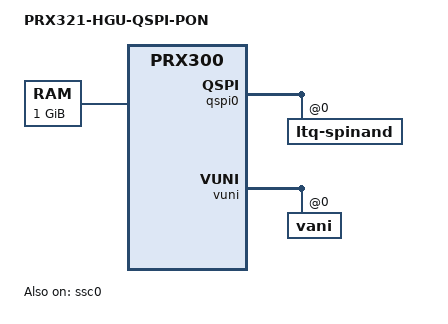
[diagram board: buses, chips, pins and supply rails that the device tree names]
/dts-v1/;
#include <dt-bindings/net/mxl,vuni.h>
#include "prx321-sfu.dtsi"
#include "prx300-pon.dtsi"

/ {
	model = "PRX321-HGU-QSPI-PON";
	compatible = "intel,prx321-hgu-qspi-pon", "intel,prx321-sfu-qspi-pon", "intel,prx321-sfu", "intel,prx300";

	chosen {
		stdout-path = "serial0";
	};

	memory@0 {
		device_type = "memory";
		reg = <0x20000000 0x40000000>; /* 1024 MB */
	};
};

&pon_eth {
	intel,max_ctps = <128>;
};

/* For voice enable the SPI driver needed for access to the on silicon VCODEC but prevent switching the pinmux to this SPI bus. On this design these pins are used for the QSPI bus. */
&ssc0 {
	status = "okay";
	/delete-property/ pinctrl-names;
	/delete-property/ pinctrl-0;
};

&qspi0 {
	status = "okay";
	ltq-spinand@0 {
		status = "okay";
	};
};

/* use CPU3 for MPE firmware */
&cpu3 {
	default-OS = "MPEFW";
};

&gsw_core {
	intel,gsw-globalpce-rules = <256>;
};
&cqm {
	DQ3: cpu-port3 {
		intel,deq-port = <3 4>;
	};
};

&vuni {
	status = "okay";
	vani@0 {
		intel,extra-subif = "VANI0", "VUNI0_0", "VUNI0_1", "VUNI0_us", "VUNI0_2";
		intel,extra-subif-domain = <VUNI_BR_DOMAIN_NO VUNI_BR_DOMAIN_UC VUNI_BR_DOMAIN_MC VUNI_BR_DOMAIN_US VUNI_BR_DOMAIN_BC>;
		intel,allow_subif_data_loop; /*Traffic between diff subif */
	};
};
